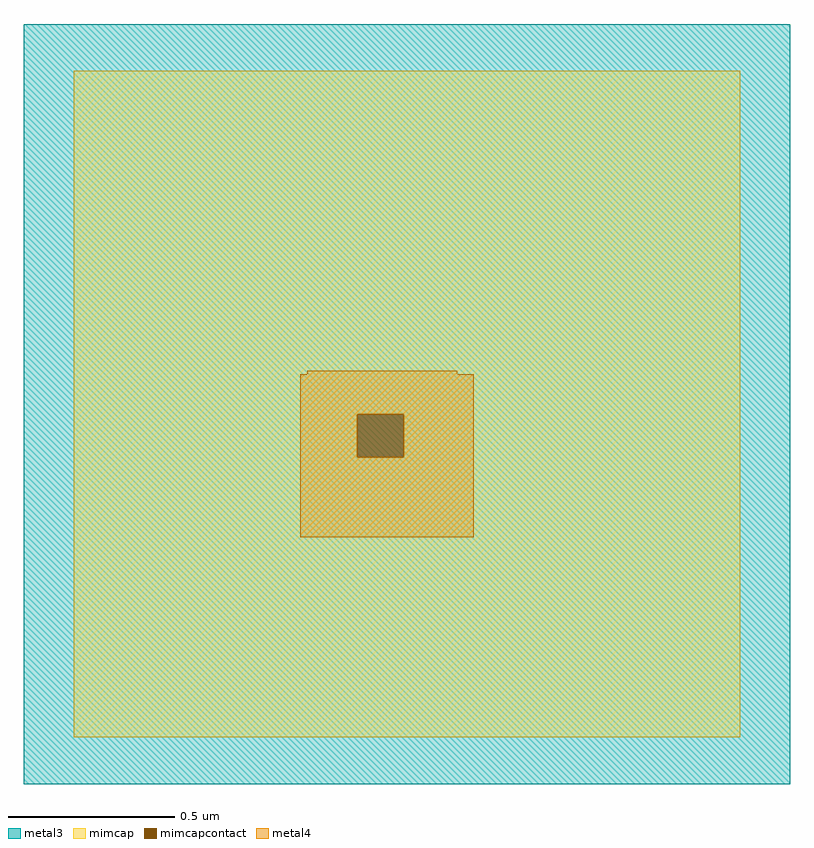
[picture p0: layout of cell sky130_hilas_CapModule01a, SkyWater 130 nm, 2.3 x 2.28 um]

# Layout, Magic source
magic
tech sky130A
<< metal3 >>
rect 0 0 230 228
<< mimcap >>
rect 15 111 215 214
rect 15 98 100 111
rect 114 98 215 111
rect 15 14 215 98
<< mimcapcontact >>
rect 100 98 114 111
<< metal4 >>
rect 85 123 130 124
rect 83 111 135 123
rect 83 98 100 111
rect 114 98 135 111
rect 83 74 135 98
<< properties >>
string LEFsite unithd
string LEFclass CORE
string LEFsymmetry X Y R90
<< end >>
